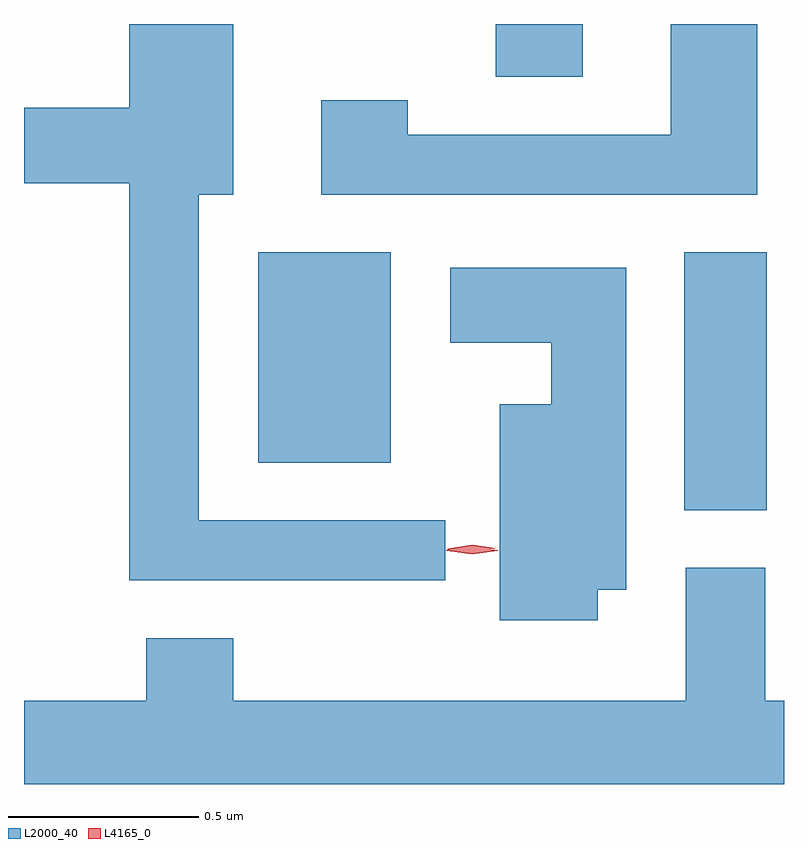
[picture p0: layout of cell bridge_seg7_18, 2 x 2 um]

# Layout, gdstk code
import gdstk
lib = gdstk.Library(unit=1e-6, precision=1e-09)
def R(c, l, rs):  # rectangles x0, y0, x1, y1
    for r in rs: c.add(gdstk.rectangle(r[:2], r[2:], *l))
def P(c, l, *ps):  # polygons
    for p in ps: c.add(gdstk.Polygon(p, *l))
L2000_40 = (2000, 40)
L4165_0 = (4165, 0)

bridge_seg7_18 = lib.new_cell('bridge_seg7_18')
R(bridge_seg7_18, L2000_40, [(1696.386,1741.726,1696.604,1742.404), (1695.266,1741.851,1695.614,1742.404), (1695.891,1742.866,1696.119,1743.005)])
P(bridge_seg7_18, L2000_40, [(1696.579,1743.005),(1696.351,1743.005),(1696.351,1742.714),(1695.659,1742.714),(1695.659,1742.804),(1695.431,1742.804),(1695.431,1742.556),(1696.579,1742.556)],
  [(1695.758,1741.699),(1695.109,1741.699),(1695.109,1742.556),(1695.199,1742.556),(1695.199,1743.005),(1694.926,1743.005),(1694.926,1742.784),(1694.649,1742.784),(1694.649,1742.586),(1694.926,1742.586),(1694.926,1741.541),(1695.758,1741.541)],
  [(1696.159,1741.516),(1696.234,1741.516),(1696.234,1742.364),(1695.771,1742.364),(1695.771,1742.166),(1696.036,1742.166),(1696.036,1742.004),(1695.901,1742.004),(1695.901,1741.436),(1696.159,1741.436)],
  [(1696.649,1741.224),(1696.599,1741.224),(1696.599,1741.574),(1696.391,1741.574),(1696.391,1741.224),(1695.199,1741.224),(1695.199,1741.389),(1694.971,1741.389),(1694.971,1741.224),(1694.649,1741.224),(1694.649,1741.005),(1696.649,1741.005)])
P(bridge_seg7_18, L4165_0, [(1695.828,1741.61),(1695.761,1741.619),(1695.76,1741.62),(1695.761,1741.62),(1695.828,1741.63),(1695.896,1741.62),(1695.896,1741.62),(1695.896,1741.619)],
  [(1695.828,1741.614),(1695.764,1741.622),(1695.764,1741.623),(1695.764,1741.624),(1695.828,1741.634),(1695.891,1741.626),(1695.891,1741.626),(1695.891,1741.626)])

lib.write_gds('bridge_seg7_18.gds')
